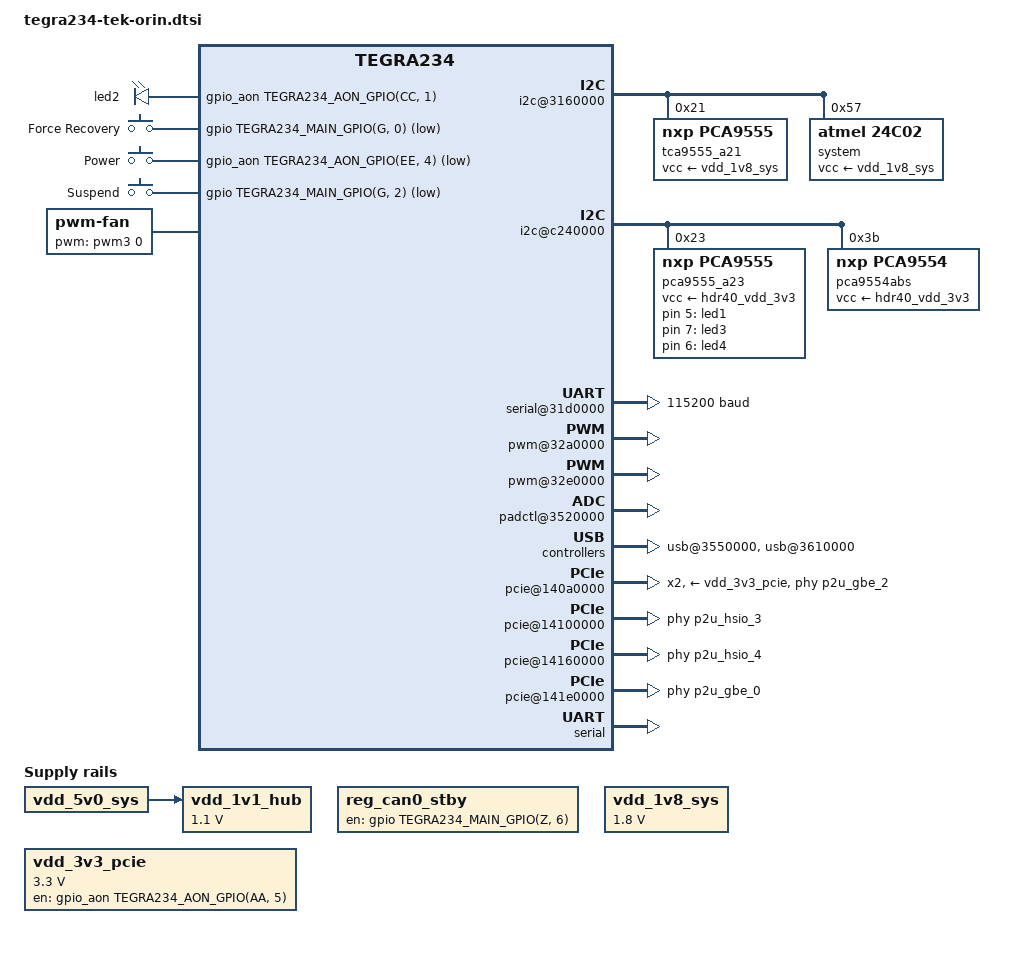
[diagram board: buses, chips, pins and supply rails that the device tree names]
// SPDX-License-Identifier: GPL-2.0
#include <dt-bindings/pinctrl/pinctrl-tegra.h>

/ {
	compatible = "nvidia,p3768-0000";

	aliases {
		serial0 = &tcu;
	};

	chosen {
		stdout-path = "serial0:115200n8";
	};

	bus@0 {
		i2c@3160000 {
			status = "okay";

			tca9555_a21: tca9555@21 {
				compatible = "nxp,pca9555";
				reg = <0x21>;
				vcc-supply = <&vdd_1v8_sys>;

				//interrupt-parent = <&gpio_aon>;
				//interrupts = <TEGRA234_AON_GPIO(CC, 2) IRQ_TYPE_LEVEL_LOW>;

				interrupt-controller;
				#interrupt-cells = <2>;

				gpio-controller;
				#gpio-cells = <2>;

				status = "okay";
				gpio-line-names = "CSI0_PWDN", "CSI0_PDB", "CSI0_RST_N", "INFO0_TRIG_IN",
							"CSI1_PWDN", "CSI1_PDB", "CSI1_RST_N", "INFO1_TRIG_IN",
							"", "", "", "",
							"", "", "", "";
			};

			eeprom@57 {
				compatible = "atmel,24c02";
				reg = <0x57>;

				label = "system";
				vcc-supply = <&vdd_1v8_sys>;
				address-width = <8>;
				pagesize = <8>;
				size = <256>;
				read-only;
			};
		};

		i2c@c240000{
			status = "okay";

			pca9555_a23: pca9555@23 {
				compatible = "nxp,pca9555";
				reg = <0x23>;
				vcc-supply = <&hdr40_vdd_3v3>;

				//interrupt-parent = <&gpio_aon>;
				//interrupts = <TEGRA234_AON_GPIO(CC, 0) IRQ_TYPE_LEVEL_LOW>;

				interrupt-controller;
				#interrupt-cells = <2>;

				gpio-controller;
				#gpio-cells = <2>;

				status = "okay";
				gpio-line-names = "M2_DISABLE_N", "M2_RST_N", "LTE_WAKE", "W_DISABLE1_CTRL",
							"BT_M2_EN", "GPIO_LED1", "GPIO_LED4", "GPIO_LED3",
							"BTBC_GPIO_P20", "BTBC_GPIO_P21", "BTBC_GPIO_P22", "BTBC_GPIO_P23",
							"BTBC_GPIO_P24", "BTBP_GPIO_P18", "BTBP_GPIO_P19", "BTBP_GPIO_P20";
			
				KEY-B-enable {
					gpio-hog;
					gpios = <0 GPIO_ACTIVE_HIGH>;
					output-low;
				};
			};

			pca9554abs: pca9554abs@3b {
				compatible = "nxp,pca9554";
				reg = <0x3b>;
				vcc-supply = <&hdr40_vdd_3v3>;

				//interrupt-parent = <&pca9555_a23>;
				//interrupts = <&pca9555_a23 8 IRQ_TYPE_LEVEL_LOW>;

				interrupt-controller;
				#interrupt-cells = <2>;

				gpio-controller;
				#gpio-cells = <2>;

				status = "okay";
				gpio-line-names = "P_GPIO01", "P_GPIO02", "P_GPIO03", "P_GPIO04",
							"P_GPIO05", "P_GPIO06", "P_GPIO07", "P_GPIO08";
			};
		};

		gpio-leds1 {
			compatible = "gpio-leds";
			status = "okay";
			led1 {
				gpios = <&pca9555_a23 5 GPIO_ACTIVE_HIGH>;
				default-state = "off";
			};
		};

		gpio-leds2 {
			compatible = "gpio-leds";
			status = "okay";
			led2 {
				gpios = <&gpio_aon TEGRA234_AON_GPIO(CC, 1)  GPIO_ACTIVE_HIGH>;
				default-state = "on";
			};
		};

		gpio-leds3 {
			compatible = "gpio-leds";
			status = "okay";
			led3 {
				gpios = <&pca9555_a23 7 GPIO_ACTIVE_HIGH>;
				default-state = "off";
			};
		};

		gpio-leds4 {
			compatible = "gpio-leds";
			status = "okay";
			led4 {
				gpios = <&pca9555_a23 6 GPIO_ACTIVE_HIGH>;
				default-state = "off";
			};
		};

		serial@31d0000 {
			current-speed = <115200>;
			status = "okay";
		};

		pwm@32a0000 {
			assigned-clocks = <&bpmp TEGRA234_CLK_PWM3>;
			assigned-clock-parents = <&bpmp TEGRA234_CLK_PLLP_OUT0>;
			status = "okay";
		};

		pwm@32e0000 {/* PWM7 40 pin header, pin 32 */
			status = "okay";
		};

		pinmux@2430000 {
			pwm-pinmux {
				hdr40-pwm5 {
					nvidia,enable-input = <TEGRA_PIN_DISABLE>;
					nvidia,tristate = <TEGRA_PIN_DISABLE>;
					nvidia,function = "gp";
					nvidia,pins = "soc_gpio21_ph0";
				};

				hdr40-pwm7 {
					nvidia,enable-input = <TEGRA_PIN_DISABLE>;
					nvidia,tristate = <TEGRA_PIN_DISABLE>;
					nvidia,function = "gp";
					nvidia,pins = "soc_gpio19_pg6";
				};
			};
		};

		padctl@3520000 {
			status = "okay";

			pads {
				usb2 {
					lanes {
						usb2-0 {
							nvidia,function = "xusb";
							status = "okay";
						};

						usb2-1 {
							nvidia,function = "xusb";
							status = "okay";
						};

						usb2-2 {
							nvidia,function = "xusb";
							status = "okay";
						};
					};
				};

				usb3 {
					lanes {
						usb3-0 {
							nvidia,function = "xusb";
							status = "okay";
						};

						usb3-1 {
							nvidia,function = "xusb";
							status = "okay";
						};
					};
				};
			};

			ports {
				/* recovery port */
				usb2-0 {
					mode = "otg";
					vbus-supply = <&vdd_5v0_sys>;
					status = "okay";
					usb-role-switch;
				};

				/* hub */
				usb2-1 {
					mode = "host";
					vbus-supply = <&vdd_1v1_hub>;
					status = "okay";
				};

				/* M.2 Key-E */
				usb2-2 {
					mode = "host";
					vbus-supply = <&vdd_5v0_sys>;
					status = "okay";
				};

				/* hub */
				usb3-0 {
					nvidia,usb2-companion = <1>;
					status = "okay";
				};

				/* J5 */
				usb3-1 {
					nvidia,usb2-companion = <0>;
					status = "okay";
				};
			};
		};

		usb@3550000 {
			status = "okay";

			phys = <&{/bus@0/padctl@3520000/pads/usb2/lanes/usb2-0}>,
			       <&{/bus@0/padctl@3520000/pads/usb3/lanes/usb3-1}>;
			phy-names = "usb2-0", "usb3-0";
		};

		usb@3610000 {
			status = "okay";

			phys = <&{/bus@0/padctl@3520000/pads/usb2/lanes/usb2-0}>,
			       <&{/bus@0/padctl@3520000/pads/usb2/lanes/usb2-1}>,
			       <&{/bus@0/padctl@3520000/pads/usb2/lanes/usb2-2}>,
			       <&{/bus@0/padctl@3520000/pads/usb3/lanes/usb3-0}>,
			       <&{/bus@0/padctl@3520000/pads/usb3/lanes/usb3-1}>;
			phy-names = "usb2-0", "usb2-1", "usb2-2", "usb3-0",
				    "usb3-1";
		};

		/* C8 - Ethernet */
		pcie@140a0000 {
			status = "okay";

			num-lanes = <2>;

			phys = <&p2u_gbe_2>, <&p2u_gbe_3>;
			phy-names = "p2u-0", "p2u-1";

			vddio-pex-ctl-supply = <&vdd_1v8_ao>;
			vpcie3v3-supply = <&vdd_3v3_pcie>;
		};

		/* C1 - M.2 Key-E */
		pcie@14100000 {
			status = "okay";

			vddio-pex-ctl-supply = <&vdd_1v8_ao>;

			phys = <&p2u_hsio_3>;
			phy-names = "p2u-0";
		};

		/* C4 - M.2 Key-M */
		pcie@14160000 {
			status = "okay";

			vddio-pex-ctl-supply = <&vdd_1v8_ao>;

			phys = <&p2u_hsio_4>, <&p2u_hsio_5>, <&p2u_hsio_6>,
			       <&p2u_hsio_7>;
			phy-names = "p2u-0", "p2u-1", "p2u-2", "p2u-3";
		};

		/* C7 - M.2 Key-M */
		pcie@141e0000 {
			status = "okay";

			vddio-pex-ctl-supply = <&vdd_1v8_ao>;

			phys = <&p2u_gbe_0>, <&p2u_gbe_1>;
			phy-names = "p2u-0", "p2u-1";
		};
	};

	gpio-keys {
		compatible = "gpio-keys";

		key-force-recovery {
			label = "Force Recovery";
			gpios = <&gpio TEGRA234_MAIN_GPIO(G, 0) GPIO_ACTIVE_LOW>;
			linux,input-type = <EV_KEY>;
			linux,code = <BTN_1>;
		};

		key-power {
			label = "Power";
			gpios = <&gpio_aon TEGRA234_AON_GPIO(EE, 4) GPIO_ACTIVE_LOW>;
			linux,input-type = <EV_KEY>;
			linux,code = <KEY_POWER>;
			wakeup-event-action = <EV_ACT_ASSERTED>;
			wakeup-source;
		};

		key-suspend {
			label = "Suspend";
			gpios = <&gpio TEGRA234_MAIN_GPIO(G, 2) GPIO_ACTIVE_LOW>;
			linux,input-type = <EV_KEY>;
			linux,code = <KEY_SLEEP>;
		};
	};

	fan: pwm-fan {
		compatible = "pwm-fan";
		pwms = <&pwm3 0 45334>;
		#cooling-cells = <2>;
	};

	reg_can0_stby: regulator-can0-stby {
		compatible = "regulator-fixed";
		regulator-name = "can1-stby";
		pinctrl-names = "default";
		regulator-min-microvolt = <0>;
		regulator-max-microvolt = <0>;
		gpio = <&gpio TEGRA234_MAIN_GPIO(Z, 6) GPIO_ACTIVE_HIGH>;
		enable-active-high;
		status = "okay";
	};

	vdd_1v8_sys: regulator-vdd-1v8-sys {
		compatible = "regulator-fixed";
		regulator-name = "VDD_1V8_SYS";
		regulator-min-microvolt = <1800000>;
		regulator-max-microvolt = <1800000>;
		regulator-always-on;
	};

	vdd_1v1_hub: regulator-vdd-1v1-hub {
		compatible = "regulator-fixed";
		regulator-name = "VDD_AV10_HUB";
		regulator-min-microvolt = <1100000>;
		regulator-max-microvolt = <1100000>;
		vin-supply = <&vdd_5v0_sys>;
		regulator-always-on;
	};

	vdd_3v3_pcie: regulator-vdd-3v3-pcie {
		compatible = "regulator-fixed";
		regulator-name = "VDD_3V3_PCIE";
		regulator-min-microvolt = <3300000>;
		regulator-max-microvolt = <3300000>;
		gpio = <&gpio_aon TEGRA234_AON_GPIO(AA, 5) GPIO_ACTIVE_HIGH>;
		enable-active-high;
	};

	serial {
		status = "okay";
	};
};
